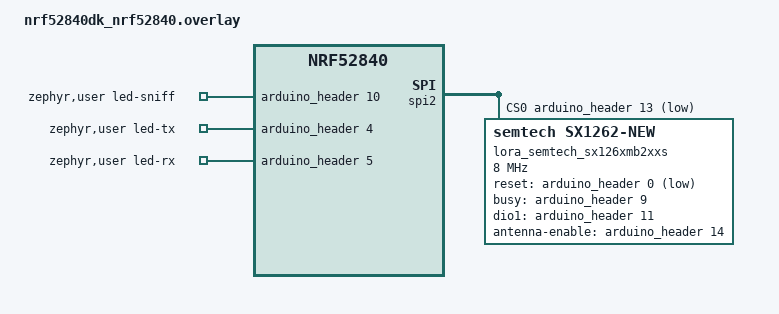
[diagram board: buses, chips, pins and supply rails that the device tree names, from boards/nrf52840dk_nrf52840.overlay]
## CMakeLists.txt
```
#
# Copyright (c) 2026
#
# SPDX-License-Identifier: LicenseRef-Nordic-5-Clause
#

cmake_minimum_required(VERSION 3.20.0)

get_filename_component(SIDEWALK_DEVKIT_BOARD_MODULE
    "${CMAKE_CURRENT_LIST_DIR}/../../../Sidewalk_Devkit_Board_Files"
    ABSOLUTE
)
if(EXISTS "${SIDEWALK_DEVKIT_BOARD_MODULE}/zephyr/module.yml")
    list(APPEND ZEPHYR_EXTRA_MODULES "${SIDEWALK_DEVKIT_BOARD_MODULE}")
endif()

find_package(Zephyr REQUIRED HINTS $ENV{ZEPHYR_BASE})
project(fsk_probe)

target_sources(app PRIVATE src/main.c)
```

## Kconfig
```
#
# Copyright (c) 2026
#
# SPDX-License-Identifier: LicenseRef-Nordic-5-Clause
#

menu "FSK probe"

choice FSK_PROBE_ROLE
	prompt "FSK probe role"
	default FSK_PROBE_ROLE_RX

config FSK_PROBE_ROLE_RX
	bool "Receive"

config FSK_PROBE_ROLE_TX
	bool "Transmit"

endchoice

config FSK_PROBE_FREQ_HZ
	int "FSK probe frequency in Hz"
	default 902000000

config FSK_PROBE_TX_POWER_DBM
	int "FSK probe TX power in dBm"
	default 14

config FSK_PROBE_BIT_RATE_BPS
	int "FSK bit rate in bits per second"
	default 50000
	range 1000 300000

config FSK_PROBE_FREQ_DEV_HZ
	int "FSK frequency deviation in Hz"
	default 25000
	range 500 200000

config FSK_PROBE_RX_BW_DSB_PARAM
	int "SX126x GFSK double-sideband RX bandwidth parameter"
	default 26
	help
	  Raw SX126x GFSK bandwidth enum value. Defaults to
	  SX126X_GFSK_BW_156200, matching the Sidewalk 50 kbps profile.

config FSK_PROBE_MOD_SHAPING
	int "SX126x GFSK modulation shaping parameter"
	default 11
	help
	  Raw SX126x GFSK shaping enum value. Defaults to
	  SX126X_GFSK_MOD_SHAPE_BT_1, matching the Sidewalk 50 kbps profile.

config FSK_PROBE_PREAMBLE_LEN_BYTES
	int "FSK preamble length in bytes"
	default 16
	range 2 1024

config FSK_PROBE_PREAMBLE_MIN_DETECT
	int "SX126x GFSK preamble detector threshold"
	default 5
	range 0 7
	help
	  Raw SX126x GFSK preamble detector enum. Defaults to 0x05
	  (16-bit detector), matching the Sidewalk SX126x driver default.
	  Useful diagnostic values are 0x04 (8-bit detector), 0x06
	  (24-bit detector), 0x07 (32-bit detector), and 0x00 (off).

config FSK_PROBE_RX_TIMEOUT_MS
	int "FSK probe RX window timeout in milliseconds"
	default 5000
	range 100 60000

config FSK_PROBE_RX_RSSI_SAMPLE_MS
	int "RX-window RSSI sample period in milliseconds"
	default 100
	range 0 5000
	help
	  Sample instantaneous radio RSSI during RX windows and log aggregate
	  min/max/average values. Set to 0 to disable sampling.

config FSK_PROBE_INTERVAL_MS
	int "FSK probe TX interval in ms"
	default 1000

config FSK_PROBE_TX_CONTINUOUS_PREAMBLE
	bool "Transmit continuous FSK preamble"
	depends on FSK_PROBE_ROLE_TX

config FSK_PROBE_TX_CONTINUOUS_WAVE
	bool "Transmit continuous unmodulated carrier"
	depends on FSK_PROBE_ROLE_TX

config FSK_PROBE_SWEEP_TRIM
	bool "Sweep SX126x crystal trim values while receiving"

config FSK_PROBE_SWEEP_FREQ
	bool "Sweep receiver frequency offsets while receiving"

config FSK_PROBE_SHORT_SYNC
	bool "Use two-byte Sidewalk FSK sync without the leading preamble byte"

config FSK_PROBE_LORAMAC_SYNC
	bool "Use LoRaMac reference GFSK sync word"

config FSK_PROBE_FREQ_SWEEP_START_HZ
	int "Receiver frequency sweep start offset in Hz"
	default -200000
	depends on FSK_PROBE_SWEEP_FREQ

config FSK_PROBE_FREQ_SWEEP_STOP_HZ
	int "Receiver frequency sweep stop offset in Hz"
	default 200000
	depends on FSK_PROBE_SWEEP_FREQ

config FSK_PROBE_FREQ_SWEEP_STEP_HZ
	int "Receiver frequency sweep step in Hz"
	default 10000
	range 1 1000000
	depends on FSK_PROBE_SWEEP_FREQ

endmenu

source "Kconfig.zephyr"
```

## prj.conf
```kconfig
#
# Copyright (c) 2026
#
# SPDX-License-Identifier: LicenseRef-Nordic-5-Clause
#

CONFIG_STATIC_INIT_GNU=y

CONFIG_SIDEWALK=y
CONFIG_SIDEWALK_APPLICATION_NAME="fsk-probe"
CONFIG_SIDEWALK_SUBGHZ_SUPPORT=y
CONFIG_SIDEWALK_SUBGHZ_RADIO_SX126X=y
CONFIG_SIDEWALK_SUBGHZ_TRIM_CAP_VAL=0x1212
CONFIG_SIDEWALK_LINK_MASK_FSK=y
CONFIG_SIDEWALK_DFU=n

CONFIG_LOG=y
CONFIG_LOG_PRINTK=y
CONFIG_LOG_BUFFER_SIZE=4096
CONFIG_LOG_MODE_IMMEDIATE=y
CONFIG_SIDEWALK_LOG_LEVEL_INF=y
CONFIG_SPI_BUS_LOG_LEVEL_WRN=y

CONFIG_GPIO=y
CONFIG_SPI=y
CONFIG_MAIN_STACK_SIZE=8192
CONFIG_HEAP_MEM_POOL_SIZE=4096
CONFIG_SYSTEM_WORKQUEUE_STACK_SIZE=4096

CONFIG_PM_DEVICE=y
CONFIG_PM_DEVICE_RUNTIME=y
CONFIG_RESET_ON_FATAL_ERROR=n
```

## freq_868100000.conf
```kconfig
CONFIG_FSK_PROBE_FREQ_HZ=868100000
```

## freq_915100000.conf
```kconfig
CONFIG_FSK_PROBE_FREQ_HZ=915100000
```

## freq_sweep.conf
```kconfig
CONFIG_FSK_PROBE_SWEEP_FREQ=y
CONFIG_FSK_PROBE_FREQ_SWEEP_START_HZ=-200000
CONFIG_FSK_PROBE_FREQ_SWEEP_STOP_HZ=200000
CONFIG_FSK_PROBE_FREQ_SWEEP_STEP_HZ=10000
```

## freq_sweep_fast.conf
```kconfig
CONFIG_FSK_PROBE_SWEEP_FREQ=y
CONFIG_FSK_PROBE_FREQ_SWEEP_START_HZ=-100000
CONFIG_FSK_PROBE_FREQ_SWEEP_STOP_HZ=100000
CONFIG_FSK_PROBE_FREQ_SWEEP_STEP_HZ=10000
CONFIG_FSK_PROBE_RX_TIMEOUT_MS=1500
```

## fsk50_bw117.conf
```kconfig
CONFIG_FSK_PROBE_RX_BW_DSB_PARAM=11
```

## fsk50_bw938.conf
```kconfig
CONFIG_FSK_PROBE_RX_BW_DSB_PARAM=19
```

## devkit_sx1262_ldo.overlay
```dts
#include <zephyr/dt-bindings/lora_lbm/sx126x.h>

&lora_semtech_sx126xmb2xxs {
	reg-mode = <SX126X_REG_MODE_LDO>;
};
```

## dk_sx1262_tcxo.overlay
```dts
&lora_semtech_sx126xmb2xxs {
	dio3-as-tcxo-control;
	tcxo-wakeup-time = <320>;
};
```

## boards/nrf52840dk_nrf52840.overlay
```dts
/*
 * Copyright (c) 2026
 *
 * SPDX-License-Identifier: LicenseRef-Nordic-5-Clause
 */

#include <zephyr/dt-bindings/lora_lbm/sx126x.h>

/ {
	chosen {
		zephyr,lora-transceiver = &lora_semtech_sx126xmb2xxs;
	};

	aliases {
		lora-transceiver = &lora_semtech_sx126xmb2xxs;
	};

	zephyr,user {
		led-sniff-gpios = <&arduino_header 10 GPIO_ACTIVE_HIGH>;
		led-tx-gpios = <&arduino_header 4 GPIO_ACTIVE_HIGH>;
		led-rx-gpios = <&arduino_header 5 GPIO_ACTIVE_HIGH>;
	};
};

/delete-node/ &arduino_spi;

arduino_spi: &spi2 {
	status = "okay";
	pinctrl-0 = <&spi3_default>;
	pinctrl-1 = <&spi3_sleep>;
	pinctrl-names = "default", "sleep";

	cs-gpios = <&arduino_header 13 GPIO_ACTIVE_LOW>;

	lora_semtech_sx126xmb2xxs: lora@0 {
		compatible = "semtech,sx1262-new";
		reg = <0>;
		spi-max-frequency = <DT_FREQ_M(8)>;

		reset-gpios = <&arduino_header 0 GPIO_ACTIVE_LOW>;
		busy-gpios = <&arduino_header 9 GPIO_ACTIVE_HIGH>;
		dio1-gpios = <&arduino_header 11 (GPIO_ACTIVE_HIGH | GPIO_PULL_DOWN)>;
		antenna-enable-gpios = <&arduino_header 14 GPIO_ACTIVE_HIGH>;
		dio2-as-rf-switch;

		reg-mode = <SX126X_REG_MODE_DCDC>;
		rx-boosted;
		tcxo-wakeup-time = <0>;
		tcxo-voltage = <SX126X_TCXO_SUPPLY_1_8V>;
	};
};
```

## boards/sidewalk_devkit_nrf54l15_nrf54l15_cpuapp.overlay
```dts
/*
 * Copyright (c) 2026
 *
 * SPDX-License-Identifier: LicenseRef-Nordic-5-Clause
 */

#include <zephyr/dt-bindings/lora_lbm/sx126x.h>

/ {
	chosen {
		zephyr,lora-transceiver = &lora_semtech_sx126xmb2xxs;
	};

	aliases {
		lora-transceiver = &lora_semtech_sx126xmb2xxs;
	};
};

arduino_spi: &spi00 {
	status = "okay";
};

lora_semtech_sx126xmb2xxs: &sx1262 {
	compatible = "semtech,sx1262-new";
	/delete-property/ dio2-tx-enable;
	dio2-as-rf-switch;
	reg-mode = <SX126X_REG_MODE_DCDC>;
	rx-boosted;
	/* DIO3 powers ANT_SW/RF switch VDD on the devkit. */
	dio3-output-voltage = <SX126X_TCXO_SUPPLY_3_3V>;
};
```

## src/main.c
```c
/*
 * Copyright (c) 2026
 *
 * SPDX-License-Identifier: LicenseRef-Nordic-5-Clause
 */

#include <stdbool.h>
#include <errno.h>
#include <limits.h>
#include <stdint.h>
#include <string.h>

#include <zephyr/kernel.h>
#include <zephyr/logging/log.h>
#include <zephyr/sys/printk.h>

#include <app_subGHz_config.h>
#include <semtech_radio_ifc.h>
#include <sid_pal_radio_ifc.h>
#include <sx126x_config.h>
#include <sx126x_radio.h>

LOG_MODULE_REGISTER(fsk_probe, CONFIG_SIDEWALK_LOG_LEVEL);

#define FSK_PROBE_RX_TIMEOUT_US ((uint32_t)CONFIG_FSK_PROBE_RX_TIMEOUT_MS * 1000U)
#define FSK_PROBE_TX_TIMEOUT_US SID_PAL_RADIO_FSK_DEFAULT_TX_TIMEOUT
#define FSK_PROBE_PSDU_MAX 64U
#define FSK_PROBE_PSDU_LEN 18U
#define FSK_PROBE_TX_BUFFER_LEN (SID_MAX_CUSTOM_PHYHDR_SZ + FSK_PROBE_PSDU_MAX + sizeof(uint32_t))

#define SX126X_FSK_PHY_HEADER_LENGTH 2U
#define FSK_PROBE_FRAME_LEN (SX126X_FSK_PHY_HEADER_LENGTH + FSK_PROBE_PSDU_LEN + sizeof(uint16_t))
#define FSK_PROBE_TRIM_MAX 0x2FU

static K_SEM_DEFINE(radio_irq_sem, 0, 1);
K_MSGQ_DEFINE(radio_event_msgq, sizeof(sid_pal_radio_events_t), 8, 4);

static sid_pal_radio_rx_packet_t rx_packet;
static sid_pal_radio_fsk_modulation_params_t fsk_mod_params;
static sid_pal_radio_fsk_packet_params_t fsk_packet_params;
static sid_pal_radio_fsk_phy_hdr_t fsk_phy_hdr;
static uint8_t fsk_sync_word[SID_PAL_RADIO_FSK_SYNC_WORD_LENGTH];

struct rssi_stats {
	int16_t min;
	int16_t max;
	int16_t last;
	int32_t sum;
	uint32_t count;
};

static const char *event_name(sid_pal_radio_events_t event)
{
	switch (event) {
	case SID_PAL_RADIO_EVENT_TX_DONE:
		return "TX_DONE";
	case SID_PAL_RADIO_EVENT_RX_DONE:
		return "RX_DONE";
	case SID_PAL_RADIO_EVENT_RX_ERROR:
		return "RX_ERROR";
	case SID_PAL_RADIO_EVENT_TX_TIMEOUT:
		return "TX_TIMEOUT";
	case SID_PAL_RADIO_EVENT_RX_TIMEOUT:
		return "RX_TIMEOUT";
	case SID_PAL_RADIO_EVENT_HEADER_ERROR:
		return "HEADER_ERROR";
	case SID_PAL_RADIO_EVENT_SYNC_DET:
		return "SYNC_DET";
	default:
		return "OTHER";
	}
}

static int radio_call(const char *name, int err)
{
	if (err != RADIO_ERROR_NONE) {
		LOG_ERR("%s failed: %d", name, err);
	}

	return err;
}

static void radio_irq_handler(void)
{
	k_sem_give(&radio_irq_sem);
}

static void radio_event_notify(sid_pal_radio_events_t event)
{
	(void)k_msgq_put(&radio_event_msgq, &event, K_NO_WAIT);
}

static void apply_sync_override(void)
{
#if defined(CONFIG_FSK_PROBE_SHORT_SYNC)
	fsk_sync_word[0] = 0x90;
	fsk_sync_word[1] = 0x4e;
	fsk_packet_params.sync_word_length = 2U;
#elif defined(CONFIG_FSK_PROBE_LORAMAC_SYNC)
	fsk_sync_word[0] = 0xc1;
	fsk_sync_word[1] = 0x94;
	fsk_sync_word[2] = 0xc1;
	fsk_packet_params.sync_word_length = 3U;
#endif
}

static void rssi_stats_reset(struct rssi_stats *stats)
{
	stats->min = INT16_MAX;
	stats->max = INT16_MIN;
	stats->last = INT16_MAX;
	stats->sum = 0;
	stats->count = 0;
}

static void rssi_stats_sample(struct rssi_stats *stats)
{
	int16_t rssi = sid_pal_radio_rssi();

	if (rssi == INT16_MAX) {
		return;
	}

	if (rssi < stats->min) {
		stats->min = rssi;
	}
	if (rssi > stats->max) {
		stats->max = rssi;
	}

	stats->last = rssi;
	stats->sum += rssi;
	stats->count++;
}

static void log_rssi_stats(uint32_t window, const struct rssi_stats *stats)
{
	if (stats->count == 0U) {
		LOG_WRN("rx rssi window=%u samples=0", window);
		return;
	}

	LOG_INF("rx rssi window=%u samples=%u min=%d max=%d avg=%d last=%d",
		window, stats->count, stats->min, stats->max,
		(int)(stats->sum / (int32_t)stats->count), stats->last);
}

static int wait_radio_event(sid_pal_radio_events_t *event, int64_t timeout_ms,
			    struct rssi_stats *rssi_stats)
{
	const int64_t deadline = k_uptime_get() + timeout_ms;
	int64_t next_rssi_sample = k_uptime_get();
	int err;

	while (true) {
		err = k_msgq_get(&radio_event_msgq, event, K_NO_WAIT);
		if (err == 0) {
			return 0;
		}

		if (k_uptime_get() >= deadline) {
			return -ETIMEDOUT;
		}

		if (rssi_stats != NULL && CONFIG_FSK_PROBE_RX_RSSI_SAMPLE_MS > 0 &&
		    k_uptime_get() >= next_rssi_sample) {
			rssi_stats_sample(rssi_stats);
			next_rssi_sample = k_uptime_get() + CONFIG_FSK_PROBE_RX_RSSI_SAMPLE_MS;
		}

		(void)k_sem_take(&radio_irq_sem, K_MSEC(100));
		err = sid_pal_radio_irq_process();
		if (err != RADIO_ERROR_NONE) {
			LOG_ERR("irq_process failed: %d", err);
			return err;
		}
	}
}

static void log_raw_radio_status(uint32_t window)
{
	const halo_drv_semtech_ctx_t *ctx = sx126x_get_drv_ctx();
	sx126x_irq_mask_t irq_status = 0;
	uint8_t dio1 = 0xff;
	uint8_t busy = 0xff;
	sx126x_status_t irq_err;
	int32_t dio1_err;
	int32_t busy_err;

	irq_err = sx126x_get_irq_status(ctx, &irq_status);
	dio1_err = sid_pal_gpio_read(ctx->config->gpio_int1, &dio1);
	busy_err = sid_pal_gpio_read(ctx->config->gpio_radio_busy, &busy);

	LOG_WRN("rx raw window=%u irq_err=%d irq=0x%04x dio1_err=%d dio1=%u busy_err=%d busy=%u",
		window, irq_err, irq_status, dio1_err, dio1, busy_err, busy);
}

static int configure_common_radio(void)
{
	set_radio_sx126x_device_config(get_radio_cfg());

	if (radio_call("sid_pal_radio_init",
		       sid_pal_radio_init(radio_event_notify, radio_irq_handler, &rx_packet))) {
		return -EIO;
	}

	if (radio_call("sid_pal_radio_standby", sid_pal_radio_standby())) {
		return -EIO;
	}

	if (radio_call("sid_pal_radio_set_modem_mode",
		       sid_pal_radio_set_modem_mode(SID_PAL_RADIO_MODEM_MODE_FSK))) {
		return -EIO;
	}

	if (radio_call("sid_pal_radio_set_frequency",
		       sid_pal_radio_set_frequency(CONFIG_FSK_PROBE_FREQ_HZ))) {
		return -EIO;
	}

	if (radio_call("sid_pal_radio_set_tx_power",
		       sid_pal_radio_set_tx_power(CONFIG_FSK_PROBE_TX_POWER_DBM))) {
		return -EIO;
	}

	fsk_mod_params.bit_rate = CONFIG_FSK_PROBE_BIT_RATE_BPS;
	fsk_mod_params.freq_dev = CONFIG_FSK_PROBE_FREQ_DEV_HZ;
	fsk_mod_params.bandwidth = (uint8_t)CONFIG_FSK_PROBE_RX_BW_DSB_PARAM;
	fsk_mod_params.mod_shaping = (uint8_t)CONFIG_FSK_PROBE_MOD_SHAPING;
	fsk_mod_params.header_type = SID_PAL_RADIO_FSK_SIDEWALK_HEADER;

	if (radio_call("sid_pal_radio_set_fsk_modulation_params",
		       sid_pal_radio_set_fsk_modulation_params(&fsk_mod_params))) {
		return -EIO;
	}

	fsk_phy_hdr.fcs_type = RADIO_FSK_FCS_TYPE_1;
	fsk_phy_hdr.is_data_whitening_enabled = false;
	fsk_phy_hdr.is_fec_enabled = false;
	fsk_packet_params.preamble_length = CONFIG_FSK_PROBE_PREAMBLE_LEN_BYTES;

	LOG_INF("configured %u Hz FSK br=%u fdev=%u bw=0x%02x shape=0x%02x preamble=%u power %d dBm",
		(unsigned int)CONFIG_FSK_PROBE_FREQ_HZ,
		(unsigned int)fsk_mod_params.bit_rate,
		(unsigned int)fsk_mod_params.freq_dev,
		(unsigned int)fsk_mod_params.bandwidth,
		(unsigned int)fsk_mod_params.mod_shaping,
		(unsigned int)CONFIG_FSK_PROBE_PREAMBLE_LEN_BYTES,
		CONFIG_FSK_PROBE_TX_POWER_DBM);

	return 0;
}

static int configure_rx_packet(void)
{
	sid_pal_radio_fsk_pkt_cfg_t cfg = {
		.phy_hdr = &fsk_phy_hdr,
		.packet_params = &fsk_packet_params,
		.sync_word = fsk_sync_word,
	};

	fsk_packet_params.preamble_length = CONFIG_FSK_PROBE_PREAMBLE_LEN_BYTES;

	if (radio_call("sid_pal_radio_prepare_fsk_for_rx", sid_pal_radio_prepare_fsk_for_rx(&cfg))) {
		return -EIO;
	}

	fsk_packet_params.preamble_min_detect = (uint8_t)CONFIG_FSK_PROBE_PREAMBLE_MIN_DETECT;
	apply_sync_override();

	fsk_packet_params.payload_length = FSK_PROBE_FRAME_LEN;

	if (radio_call("sid_pal_radio_set_fsk_packet_params",
		       sid_pal_radio_set_fsk_packet_params(&fsk_packet_params))) {
		return -EIO;
	}

	if (radio_call("sid_pal_radio_set_fsk_sync_word",
		       sid_pal_radio_set_fsk_sync_word(fsk_sync_word,
						       fsk_packet_params.sync_word_length))) {
		return -EIO;
	}

	LOG_INF("rx packet sync=%02x %02x %02x sync_len=%u pbl_det=0x%02x payload_len=%u",
		fsk_sync_word[0], fsk_sync_word[1], fsk_sync_word[2],
		fsk_packet_params.sync_word_length,
		fsk_packet_params.preamble_min_detect,
		fsk_packet_params.payload_length);

	return 0;
}

static int run_rx(void)
{
	sid_pal_radio_events_t event;
	struct rssi_stats rssi_stats;
	uint32_t windows = 0;

	if (configure_common_radio() || configure_rx_packet()) {
		return -EIO;
	}

	while (true) {
		memset(&rx_packet, 0, sizeof(rx_packet));
		rssi_stats_reset(&rssi_stats);
		windows++;

#if defined(CONFIG_FSK_PROBE_SWEEP_FREQ)
		int32_t freq_span = CONFIG_FSK_PROBE_FREQ_SWEEP_STOP_HZ -
				    CONFIG_FSK_PROBE_FREQ_SWEEP_START_HZ;
		uint32_t freq_steps = (uint32_t)(freq_span / CONFIG_FSK_PROBE_FREQ_SWEEP_STEP_HZ) + 1U;
		int32_t freq_offset = CONFIG_FSK_PROBE_FREQ_SWEEP_START_HZ +
				      (int32_t)(((windows - 1U) % freq_steps) *
						CONFIG_FSK_PROBE_FREQ_SWEEP_STEP_HZ);
		uint32_t freq_hz = (uint32_t)((int32_t)CONFIG_FSK_PROBE_FREQ_HZ + freq_offset);
		int32_t freq_err = sid_pal_radio_set_frequency(freq_hz);

		LOG_INF("rx freq window=%u freq=%u offset=%d err=%d",
			windows, freq_hz, (int)freq_offset, (int)freq_err);
#endif

#if defined(CONFIG_FSK_PROBE_SWEEP_TRIM)
		uint16_t trim_step = (uint16_t)((windows - 1U) % (FSK_PROBE_TRIM_MAX + 1U));
		uint16_t trim = (uint16_t)((trim_step << 8) | trim_step);
		int32_t trim_err = semtech_radio_set_trim_cap_val(trim);

		LOG_INF("rx trim window=%u trim=0x%04x err=%d",
			windows, trim, (int)trim_err);
#endif

		if (radio_call("sid_pal_radio_start_rx", sid_pal_radio_start_rx(FSK_PROBE_RX_TIMEOUT_US))) {
			k_sleep(K_SECONDS(1));
			continue;
		}

		if (wait_radio_event(&event, CONFIG_FSK_PROBE_RX_TIMEOUT_MS + 500,
				     &rssi_stats) != 0) {
			log_rssi_stats(windows, &rssi_stats);
			log_raw_radio_status(windows);
			LOG_WRN("rx wait timeout window=%u status=%u", windows,
				(unsigned int)sid_pal_radio_get_status());
			(void)sid_pal_radio_standby();
			continue;
		}

		log_rssi_stats(windows, &rssi_stats);
		LOG_INF("rx event %s(%d) window=%u len=%u rssi_avg=%d rssi_sync=%d",
			event_name(event), event, windows, rx_packet.payload_len,
			rx_packet.fsk_rx_packet_status.rssi_avg,
			rx_packet.fsk_rx_packet_status.rssi_sync);

		if (event == SID_PAL_RADIO_EVENT_RX_DONE && rx_packet.payload_len > 0) {
			LOG_HEXDUMP_INF(rx_packet.rcv_payload, rx_packet.payload_len, "rx payload");
		}

		(void)sid_pal_radio_standby();
	}
}

static int configure_tx_packet(uint8_t *tx_buffer, uint8_t psdu_len)
{
	sid_pal_radio_fsk_pkt_cfg_t cfg = {
		.phy_hdr = &fsk_phy_hdr,
		.packet_params = &fsk_packet_params,
		.sync_word = fsk_sync_word,
		.payload = tx_buffer,
	};

	fsk_packet_params.preamble_length = CONFIG_FSK_PROBE_PREAMBLE_LEN_BYTES;
	fsk_packet_params.payload_length = psdu_len;

	if (radio_call("sid_pal_radio_prepare_fsk_for_tx", sid_pal_radio_prepare_fsk_for_tx(&cfg))) {
		return -EIO;
	}

	apply_sync_override();

	if (radio_call("sid_pal_radio_set_fsk_packet_params",
		       sid_pal_radio_set_fsk_packet_params(&fsk_packet_params))) {
		return -EIO;
	}

	if (radio_call("sid_pal_radio_set_fsk_sync_word",
		       sid_pal_radio_set_fsk_sync_word(fsk_sync_word,
						       fsk_packet_params.sync_word_length))) {
		return -EIO;
	}

	if (radio_call("sid_pal_radio_set_tx_payload",
		       sid_pal_radio_set_tx_payload(tx_buffer, fsk_packet_params.payload_length))) {
		return -EIO;
	}

	return 0;
}

static int run_tx(void)
{
	uint8_t tx_buffer[FSK_PROBE_TX_BUFFER_LEN];
	uint32_t seq = 0;

	if (configure_common_radio()) {
		return -EIO;
	}

#if defined(CONFIG_FSK_PROBE_TX_CONTINUOUS_PREAMBLE)
	if (radio_call("sid_pal_radio_set_tx_continuous_preamble",
		       sid_pal_radio_set_tx_continuous_preamble(CONFIG_FSK_PROBE_FREQ_HZ,
								CONFIG_FSK_PROBE_TX_POWER_DBM))) {
		return -EIO;
	}

	LOG_INF("tx continuous preamble active freq=%u power=%d",
		(unsigned int)CONFIG_FSK_PROBE_FREQ_HZ, CONFIG_FSK_PROBE_TX_POWER_DBM);

	while (true) {
		k_sleep(K_SECONDS(60));
	}
#endif

#if defined(CONFIG_FSK_PROBE_TX_CONTINUOUS_WAVE)
	if (radio_call("sid_pal_radio_set_tx_continuous_wave",
		       sid_pal_radio_set_tx_continuous_wave(CONFIG_FSK_PROBE_FREQ_HZ,
							   CONFIG_FSK_PROBE_TX_POWER_DBM))) {
		return -EIO;
	}

	LOG_INF("tx continuous wave active freq=%u power=%d",
		(unsigned int)CONFIG_FSK_PROBE_FREQ_HZ, CONFIG_FSK_PROBE_TX_POWER_DBM);

	while (true) {
		k_sleep(K_SECONDS(60));
	}
#endif

	while (true) {
		sid_pal_radio_events_t event;
		int len;

		memset(tx_buffer, 0, sizeof(tx_buffer));
		len = snprintk(tx_buffer, FSK_PROBE_PSDU_MAX, "fsk-probe %08u", seq++);
		if (len != FSK_PROBE_PSDU_LEN) {
			LOG_ERR("payload format failed len=%d", len);
			k_sleep(K_SECONDS(1));
			continue;
		}

		if (configure_tx_packet(tx_buffer, (uint8_t)len) ||
		    radio_call("sid_pal_radio_start_tx", sid_pal_radio_start_tx(FSK_PROBE_TX_TIMEOUT_US))) {
			(void)sid_pal_radio_standby();
			k_sleep(K_SECONDS(1));
			continue;
		}

		if (wait_radio_event(&event, 6000, NULL) != 0) {
			LOG_WRN("tx wait timeout seq=%u status=%u", seq - 1,
				(unsigned int)sid_pal_radio_get_status());
		} else {
			LOG_INF("tx event %s(%d) seq=%u", event_name(event), event, seq - 1);
		}

		(void)sid_pal_radio_standby();
		k_sleep(K_MSEC(CONFIG_FSK_PROBE_INTERVAL_MS));
	}
}

int main(void)
{
	int err;

	for (int i = 0; i < 10; i++) {
		printk("fsk_probe boot wait %d\n", i);
		k_sleep(K_SECONDS(1));
	}

	LOG_INF("FSK probe boot role=%s freq=%u power=%d",
#if defined(CONFIG_FSK_PROBE_ROLE_TX)
		"tx",
#else
		"rx",
#endif
		(unsigned int)CONFIG_FSK_PROBE_FREQ_HZ, CONFIG_FSK_PROBE_TX_POWER_DBM);

#if defined(CONFIG_FSK_PROBE_ROLE_TX)
	err = run_tx();
#else
	err = run_rx();
#endif

	while (true) {
		LOG_ERR("FSK probe stopped err=%d", err);
		printk("fsk_probe stopped err=%d\n", err);
		k_sleep(K_SECONDS(5));
	}
}
```
